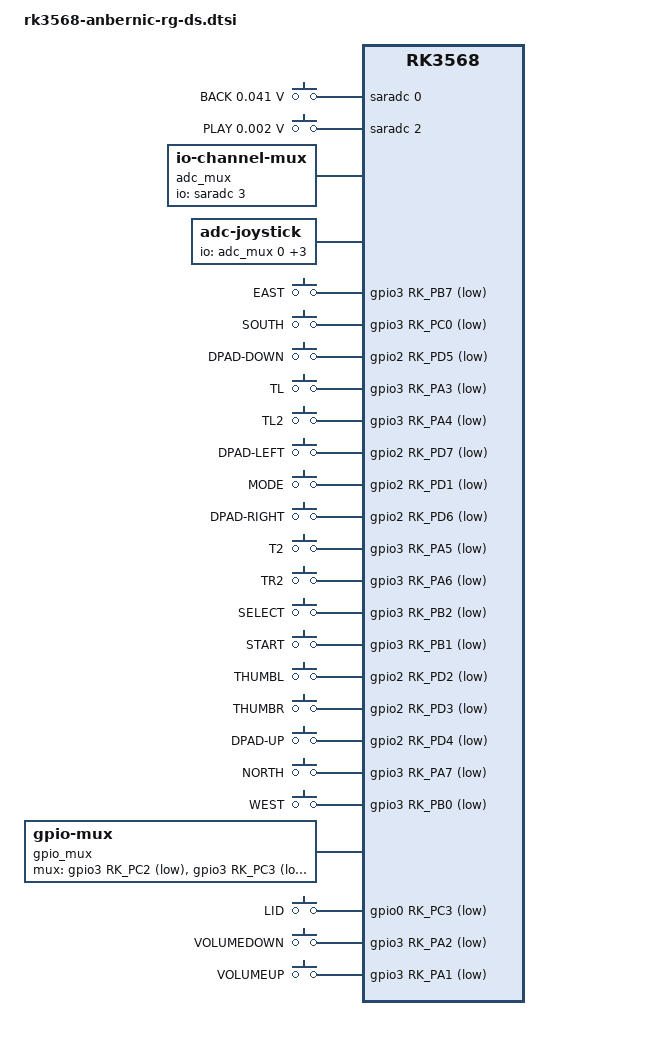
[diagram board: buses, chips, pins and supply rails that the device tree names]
/*
  This is a shared device tree between RG DS and RG DS Plus.
*/

/ {
	adc_keys_home: adc-keys-home {
		compatible = "adc-keys";
		io-channels = <&saradc 0>;
		io-channel-names = "buttons";
		keyup-threshold-microvolt = <1800000>;
		poll-interval = <60>;

		button-home {
			label = "BACK";
			linux,code = <BTN_BACK>;
			press-threshold-microvolt = <41000>;
		};
	};

	adc_keys_play: adc-keys-play {
		compatible = "adc-keys";
		io-channel-names = "buttons";
		io-channels = <&saradc 2>;
		keyup-threshold-microvolt = <1300000>;
		poll-interval = <60>;

		button-play {
			label = "PLAY";
			linux,code = <KEY_PLAYPAUSE>;
			press-threshold-microvolt = <1750>;
		};
	};

	adc_mux: adc-mux {
		compatible = "io-channel-mux";
		channels = "left_x", "right_x", "left_y", "right_y";
		#io-channel-cells = <1>;
		io-channels = <&saradc 3>;
		io-channel-names = "parent";
		mux-controls = <&gpio_mux>;
		settle-time-us = <100>;
	};

	adc-joystick {
		compatible = "adc-joystick";
		#address-cells = <1>;
		io-channels = <&adc_mux 0>,
			      <&adc_mux 1>,
			      <&adc_mux 2>,
			      <&adc_mux 3>;
		pinctrl-0 = <&joy_mux_en>;
		pinctrl-names = "default";
		poll-interval = <60>;
		#size-cells = <0>;

		axis@0 {
			reg = <0>;
			abs-flat = <32>;
			abs-fuzz = <32>;
			abs-range = <940 15>;
			linux,code = <ABS_X>;
		};

		axis@1 {
			reg = <1>;
			abs-flat = <32>;
			abs-fuzz = <32>;
			abs-range = <15 940>;
			linux,code = <ABS_RY>;
		};

		axis@2 {
			reg = <2>;
			abs-flat = <32>;
			abs-fuzz = <32>;
			abs-range = <15 940>;
			linux,code = <ABS_Y>;
		};

		axis@3 {
			reg = <3>;
			abs-flat = <32>;
			abs-fuzz = <32>;
			abs-range = <15 940>;
			linux,code = <ABS_RX>;
		};
	};

	gpio_keys_control: gpio-keys-control {
		compatible = "gpio-keys";
		pinctrl-0 = <&gamepad_keys_l>;
		pinctrl-names = "default";

		button-a {
			gpios = <&gpio3 RK_PB7 GPIO_ACTIVE_LOW>;
			label = "EAST";
			linux,code = <BTN_EAST>;
		};

		button-b {
			gpios = <&gpio3 RK_PC0 GPIO_ACTIVE_LOW>;
			label = "SOUTH";
			linux,code = <BTN_SOUTH>;
		};

		button-down {
			gpios = <&gpio2 RK_PD5 GPIO_ACTIVE_LOW>;
			label = "DPAD-DOWN";
			linux,code = <BTN_DPAD_DOWN>;
		};

		button-l1 {
			gpios = <&gpio3 RK_PA3 GPIO_ACTIVE_LOW>;
			label = "TL";
			linux,code = <BTN_TL>;
		};

		button-l2 {
			gpios = <&gpio3 RK_PA4 GPIO_ACTIVE_LOW>;
			label = "TL2";
			linux,code = <BTN_TL2>;
		};

		button-left {
			gpios = <&gpio2 RK_PD7 GPIO_ACTIVE_LOW>;
			label = "DPAD-LEFT";
			linux,code = <BTN_DPAD_LEFT>;
		};

		button-menu {
			gpios = <&gpio2 RK_PD1 GPIO_ACTIVE_LOW>;
			label = "MODE";
			linux,code = <BTN_MODE>;
		};

		button-right {
			gpios = <&gpio2 RK_PD6 GPIO_ACTIVE_LOW>;
			label = "DPAD-RIGHT";
			linux,code = <BTN_DPAD_RIGHT>;
		};

		button-r1 {
			gpios = <&gpio3 RK_PA5 GPIO_ACTIVE_LOW>;
			label = "T2";
			linux,code = <BTN_TR>;
		};

		button-r2 {
			gpios = <&gpio3 RK_PA6 GPIO_ACTIVE_LOW>;
			label = "TR2";
			linux,code = <BTN_TR2>;
		};

		button-select {
			gpios = <&gpio3 RK_PB2 GPIO_ACTIVE_LOW>;
			label = "SELECT";
			linux,code = <BTN_SELECT>;
		};

		button-start {
			gpios = <&gpio3 RK_PB1 GPIO_ACTIVE_LOW>;
			label = "START";
			linux,code = <BTN_START>;
		};

		button-thumbl {
			gpios = <&gpio2 RK_PD2 GPIO_ACTIVE_LOW>;
			label = "THUMBL";
			linux,code = <BTN_THUMBL>;
		};

		button-thumbr {
			gpios = <&gpio2 RK_PD3 GPIO_ACTIVE_LOW>;
			label = "THUMBR";
			linux,code = <BTN_THUMBR>;
		};

		button-up {
			gpios = <&gpio2 RK_PD4 GPIO_ACTIVE_LOW>;
			label = "DPAD-UP";
			linux,code = <BTN_DPAD_UP>;
		};

		button-x {
			gpios = <&gpio3 RK_PA7 GPIO_ACTIVE_LOW>;
			label = "NORTH";
			linux,code = <BTN_NORTH>;
		};

		button-y {
			gpios = <&gpio3 RK_PB0 GPIO_ACTIVE_LOW>;
			label = "WEST";
			linux,code = <BTN_WEST>;
		};
	};

	gpio_mux: mux-controller {
		compatible = "gpio-mux";
		#mux-control-cells = <0>;
		mux-gpios = <&gpio3 RK_PC2 GPIO_ACTIVE_LOW>,
			    <&gpio3 RK_PC3 GPIO_ACTIVE_LOW>;
		pinctrl-0 = <&joy_mux_config>;
		pinctrl-names = "default";
	};

	gpio_keys_hall: gpio-keys-hall {
		compatible = "gpio-keys";
		pinctrl-0 = <&hall_int_l>;
		pinctrl-names = "default";

		lid-switch {
			gpios = <&gpio0 RK_PC3 GPIO_ACTIVE_LOW>;
			label = "LID";
			linux,code = <SW_LID>;
			linux,input-type = <EV_SW>;
			wakeup-event-action = <EV_ACT_DEASSERTED>;
			wakeup-source;
		};
	};

	gpio_keys_volume: gpio-keys-volume {
		compatible = "gpio-keys";
		autorepeat;
		pinctrl-0 = <&vol_keys_l>;
		pinctrl-names = "default";

		vol-down-key {
			gpios = <&gpio3 RK_PA2 GPIO_ACTIVE_LOW>;
			label = "VOLUMEDOWN";
			linux,code = <KEY_VOLUMEDOWN>;
		};

		vol-up-key {
			gpios = <&gpio3 RK_PA1 GPIO_ACTIVE_LOW>;
			label = "VOLUMEUP";
			linux,code = <KEY_VOLUMEUP>;
		};
	};

};

&pinctrl {
	gpio-keys {
		vol_keys_l: vol-keys_l {
			rockchip,pins =
				<3 RK_PA1 RK_FUNC_GPIO &pcfg_pull_up>,
				<3 RK_PA2 RK_FUNC_GPIO &pcfg_pull_up>;
		};

		gamepad_keys_l: gamepad-keys-l {
			rockchip,pins =
				<2 RK_PD1 RK_FUNC_GPIO &pcfg_pull_up>,
				<2 RK_PD2 RK_FUNC_GPIO &pcfg_pull_up>,
				<2 RK_PD3 RK_FUNC_GPIO &pcfg_pull_up>,
				<2 RK_PD4 RK_FUNC_GPIO &pcfg_pull_up>,
				<2 RK_PD5 RK_FUNC_GPIO &pcfg_pull_up>,
				<2 RK_PD6 RK_FUNC_GPIO &pcfg_pull_up>,
				<2 RK_PD7 RK_FUNC_GPIO &pcfg_pull_up>,
				<3 RK_PA3 RK_FUNC_GPIO &pcfg_pull_up>,
				<3 RK_PA4 RK_FUNC_GPIO &pcfg_pull_up>,
				<3 RK_PA5 RK_FUNC_GPIO &pcfg_pull_up>,
				<3 RK_PA6 RK_FUNC_GPIO &pcfg_pull_up>,
				<3 RK_PA7 RK_FUNC_GPIO &pcfg_pull_up>,
				<3 RK_PB0 RK_FUNC_GPIO &pcfg_pull_up>,
				<3 RK_PB1 RK_FUNC_GPIO &pcfg_pull_up>,
				<3 RK_PB2 RK_FUNC_GPIO &pcfg_pull_up>,
				<3 RK_PB7 RK_FUNC_GPIO &pcfg_pull_up>,
				<3 RK_PC0 RK_FUNC_GPIO &pcfg_pull_up>;
		};
	};

	hall-sensor {
		hall_int_l: hal-int-l {
			rockchip,pins =
				<0 RK_PC3 RK_FUNC_GPIO &pcfg_pull_up>;
		};
	};

	joy-mux {
		joy_mux_en: joy-mux-en {
			rockchip,pins =
				<3 RK_PC1 RK_FUNC_GPIO &pcfg_output_low>;
		};

		joy_mux_config: joy-mux-config {
			rockchip,pins =
				<3 RK_PC2 RK_FUNC_GPIO &pcfg_pull_none>,
				<3 RK_PC3 RK_FUNC_GPIO &pcfg_pull_none>;
		};
	};
};
